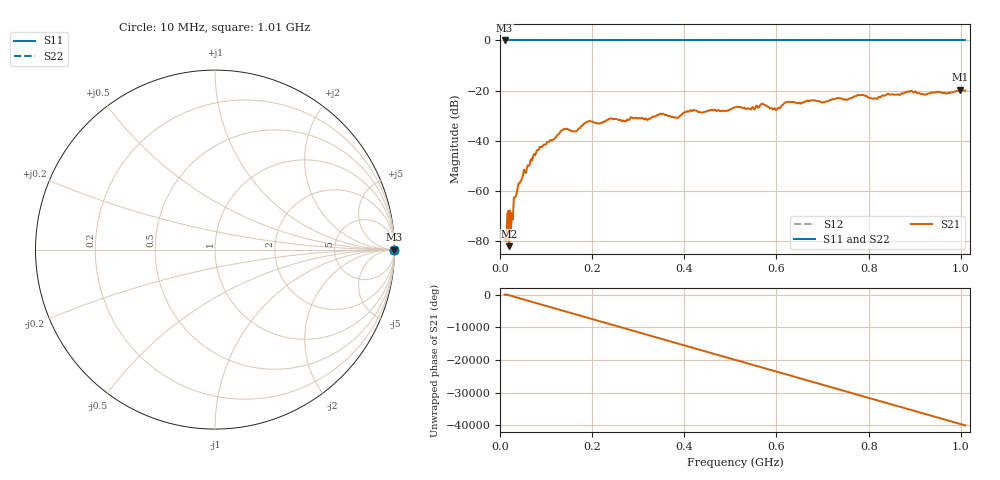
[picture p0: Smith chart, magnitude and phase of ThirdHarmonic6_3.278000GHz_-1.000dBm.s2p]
! 8/17/2025 10:09:43 AM
! C:\ANRITSUVNA\TEMP\TEMP.S2P
! CHANNEL.1
! TR.MEASUREMENT
! RAW.DATA
! RF.CORRECTION.OFF
! AVERAGING.OFF
! IF.BANDWIDTH: 5KHZ
! SWEEPTYPE:  FREQ.SWEEP(Linear)
! Reference Plane Port Info
! PORT:  PORT1  PORT2
! DISTANCE:  0  m  0  m
! TIME:  0  s  0  s
! PHASE.OFFSET:  0  deg.  0  deg.
! LOSS:  0  dB  0  dB
! REF.LOSS:  0  dB  0  dB
! REF.FREQ:  0  Hz  0  Hz
! Power Info
! POWER:  -20  dBm  -20  dBm
! EFF.POWER:  -20  dBm  -20  dBm
! SOURCE.ATTEN:  0  dB  0  dB
! TEST.ATTEN:  0  dB  0  dB
# GHZ S RI R 50.0
! FREQ.GHZ  S11RE  S11IM  S21RE  S21IM  S12RE  S12IM  S22RE  S22IM
!; PortSelection: Port_12
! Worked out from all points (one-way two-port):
!   501 points, 10 MHz to 1.01 GHz, reference 50 ohm
!   highest |S21| = -19.54 dB at 998 MHz (marker M1); lowest = -81.9 dB at 20 MHz (marker M2)
!   lowest |S11| = 0.0 dB at 10 MHz (marker M3)
!   |S11| at or under -10 dB: nowhere
!   |S22| runs from 0.0 to 0.0 dB; largest |S21 - S12| = 1.1
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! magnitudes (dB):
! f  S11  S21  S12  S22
! 10 MHz  0.0  -79.4  0.0  0.0
! 14 MHz  0.0  -79.7  0.0  0.0
! 20 MHz  0.0  -81.9  0.0  0.0
! 24 MHz  0.0  -74.7  0.0  0.0
! 34 MHz  0.0  -62.2  0.0  0.0
! 42 MHz  0.0  -57.0  0.0  0.0
! 82 MHz  0.0  -43.7  0.0  0.0
! 136 MHz  0.0  -35.7  0.0  0.0
! 164 MHz  0.0  -36.3  0.0  0.0
! 178 MHz  0.0  -34.0  0.0  0.0
! 194 MHz  0.0  -32.1  0.0  0.0
! 344 MHz  0.0  -29.7  0.0  0.0
! 384 MHz  0.0  -30.7  0.0  0.0
! 416 MHz  0.0  -28.1  0.0  0.0
! 510 MHz  0.0  -26.6  0.0  0.0
! 570 MHz  0.0  -25.2  0.0  0.0
! 598 MHz  0.0  -27.6  0.0  0.0
! 622 MHz  0.0  -24.5  0.0  0.0
! 678 MHz  0.0  -23.8  0.0  0.0
! 844 MHz  0.0  -21.3  0.0  0.0
! 998 MHz  0.0  -19.5  0.0  0.0
! 1.01 GHz  0.0  -19.9  0.0  0.0
